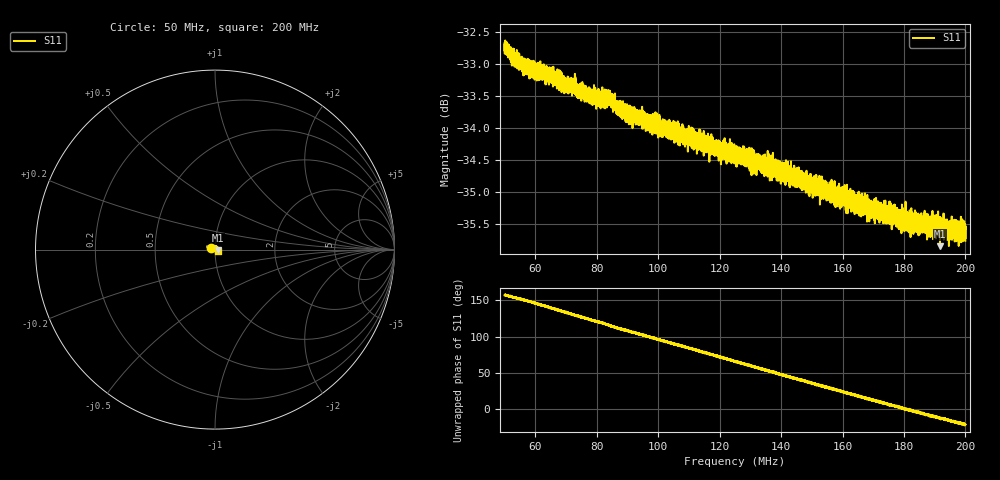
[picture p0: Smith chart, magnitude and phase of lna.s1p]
! COPPER MOUNTAIN TECHNOLOGIES, PLANAR TR1300/1, 00071119, 20.2.2/1.0
! Date: 1/9/2024 8:00:36 PM
! Data: Format [Calibration Info]
! Freq  S11: Re/Im F1
# HZ S RI R 50
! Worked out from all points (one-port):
!   12288 points, 50 MHz to 200 MHz, reference 50 ohm
!   lowest |S11| = -35.8 dB at 191.7 MHz (marker M1), VSWR 1.03, Z = 51.6 - j0.351 ohm
!   |S11| at or under -10 dB: start of sweep to end of sweep
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5e7  -0.0211 0.00889
5.07569e7  -0.0212 0.00943
5.260031e7  -0.0209 0.0097
5.666558e7  -0.0194 0.011
6.20249e7  -0.0181 0.013
6.875153e7  -0.0154 0.0151
7.822495e7  -0.0115 0.018
8.153333e7  -0.0102 0.0182
8.442663e7  -0.00868 0.0189
8.646537e7  -0.00792 0.0189
8.750305e7  -0.00765 0.0194
9.669569e7  -0.00357 0.0199
1.062546e8  0.000307 0.0199
1.250061e8  0.00775 0.0174
1.437576e8  0.0129 0.0126
1.525352e8  0.0151 0.00969
1.564174e8  0.0152 0.0085
1.588712e8  0.0158 0.0074
1.602751e8  0.0161 0.00727
1.625092e8  0.0162 0.00642
1.699683e8  0.0169 0.00358
1.713844e8  0.0167 0.00326
1.781843e8  0.0169 0.00103
1.812607e8  0.0167 -4.46e-05
1.91723e8  0.0158 -0.0034
1.941401e8  0.016 -0.00425
1.992431e8  0.0156 -0.00564
2e8  0.0152 -0.00577
